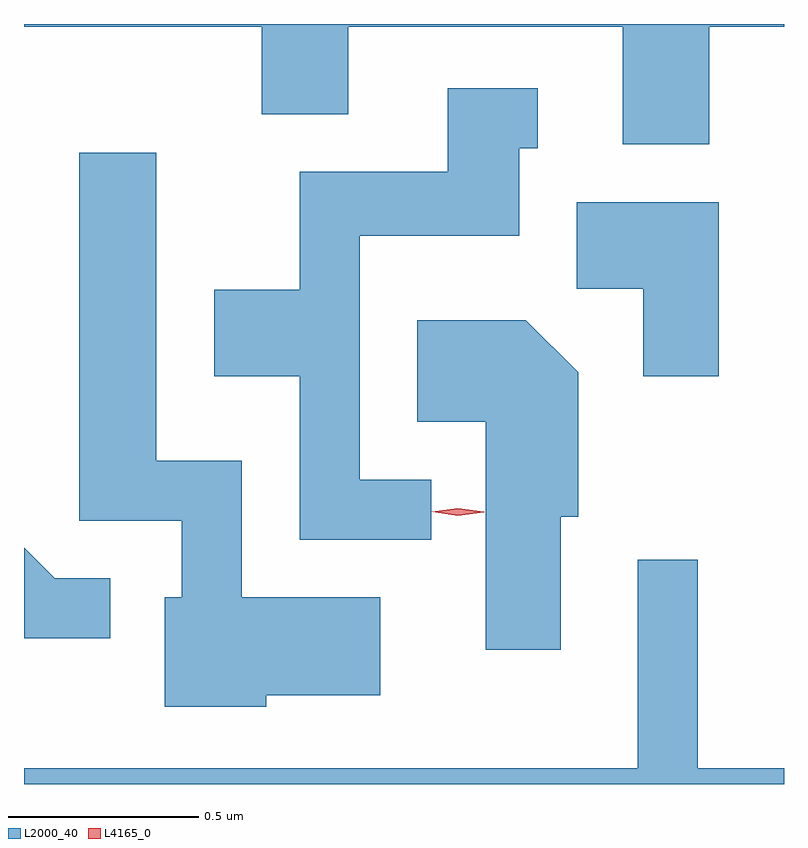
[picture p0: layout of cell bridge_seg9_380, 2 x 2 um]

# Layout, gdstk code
import gdstk
lib = gdstk.Library(unit=1e-6, precision=1e-09)
def P(c, l, *ps):  # polygons
    for p in ps: c.add(gdstk.Polygon(p, *l))
L2000_40 = (2000, 40)
L4165_0 = (4165, 0)

bridge_seg9_380 = lib.new_cell('bridge_seg9_380')
P(bridge_seg9_380, L2000_40, [(679.449,1951.856),(679.646,1951.856),(679.646,1951.863),(677.646,1951.863),(677.646,1951.856),(678.271,1951.856),(678.271,1951.626),(678.499,1951.626),(678.499,1951.856),(679.221,1951.856),(679.221,1951.546),(679.449,1951.546)],
  [(678.718,1950.664),(678.529,1950.664),(678.529,1951.306),(678.949,1951.306),(678.949,1951.536),(678.998,1951.536),(678.998,1951.694),(678.761,1951.694),(678.761,1951.474),(678.371,1951.474),(678.371,1951.164),(678.146,1951.164),(678.146,1950.936),(678.371,1950.936),(678.371,1950.506),(678.718,1950.506)],
  [(678.284,1950.096),(678.584,1950.096),(678.584,1950.354),(678.219,1950.354),(678.219,1950.714),(677.994,1950.714),(677.994,1951.524),(677.791,1951.524),(677.791,1950.556),(678.061,1950.556),(678.061,1950.354),(678.016,1950.354),(678.016,1950.066),(678.284,1950.066)],
  [(679.474,1951.394),(679.101,1951.394),(679.101,1951.166),(679.276,1951.166),(679.276,1950.936),(679.474,1950.936)],
  [(679.059,1950.566),(679.104,1950.566),(679.104,1950.947),(678.967,1951.084),(678.681,1951.084),(678.681,1950.816),(678.861,1950.816),(678.861,1950.216),(679.059,1950.216)],
  [(677.873,1950.404),(677.727,1950.404),(677.646,1950.485),(677.646,1950.246),(677.873,1950.246)],
  [(679.646,1949.904),(679.419,1949.904),(679.419,1950.453),(679.261,1950.453),(679.261,1949.904),(677.646,1949.904),(677.646,1949.863),(679.646,1949.863)])
P(bridge_seg9_380, L4165_0, [(678.788,1950.569),(678.719,1950.579),(678.718,1950.58),(678.719,1950.58),(678.788,1950.589),(678.857,1950.579),(678.857,1950.579),(678.857,1950.578)])

lib.write_gds('bridge_seg9_380.gds')
